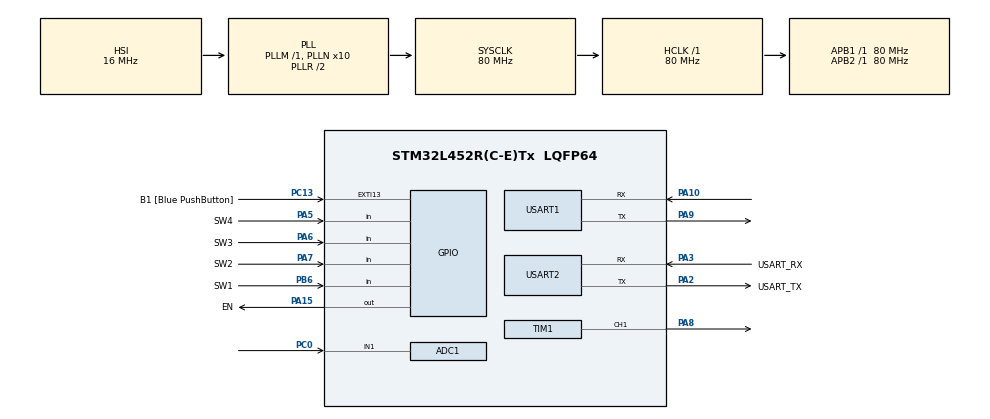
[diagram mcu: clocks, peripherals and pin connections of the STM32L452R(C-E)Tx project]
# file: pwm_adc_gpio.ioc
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ADC1.Channel-0\#ChannelRegularConversion=ADC_CHANNEL_1
ADC1.NbrOfConversionFlag=1
ADC1.OffsetNumber-0\#ChannelRegularConversion=ADC_OFFSET_NONE
ADC1.Rank-0\#ChannelRegularConversion=1
ADC1.SamplingTime-0\#ChannelRegularConversion=ADC_SAMPLETIME_2CYCLES_5
ADC1.master=1
Mcu.Family=STM32L4
Mcu.Name=STM32L452R(C-E)Tx
Mcu.Package=LQFP64
NVIC.PriorityGroup=NVIC_PRIORITYGROUP_4
NVIC.TIM2_IRQn=true\:0\:0\:false\:false\:true\:true\:true\:true
NVIC.USART1_IRQn=true\:0\:0\:false\:false\:true\:true\:true\:true
NVIC.USART2_IRQn=true\:0\:0\:false\:false\:true\:true\:true\:true
PA10.Mode=Asynchronous
PA10.Signal=USART1_RX
PA14\ (JTCK/SWCLK).GPIO_Label=TCK
PA14\ (JTCK/SWCLK).Signal=SYS_JTCK-SWCLK
PA15\ (JTDI).GPIO_Label=EN
PA15\ (JTDI).Signal=GPIO_Output
PA2.GPIO_Label=USART_TX
PA2.GPIO_Mode=GPIO_MODE_AF_PP
PA2.GPIO_PuPd=GPIO_NOPULL
PA2.GPIO_Speed=GPIO_SPEED_FREQ_VERY_HIGH
PA2.Mode=Asynchronous
PA2.Signal=USART2_TX
PA3.GPIO_Label=USART_RX
PA3.GPIO_Mode=GPIO_MODE_AF_PP
PA3.GPIO_PuPd=GPIO_NOPULL
PA3.GPIO_Speed=GPIO_SPEED_FREQ_VERY_HIGH
PA3.Mode=Asynchronous
PA3.Signal=USART2_RX
PA5.GPIO_Label=SW4
PA5.Signal=GPIO_Input
PA6.GPIO_Label=SW3
PA6.Signal=GPIO_Input
PA7.GPIO_Label=SW2
PA7.Signal=GPIO_Input
PA8.Signal=S_TIM1_CH1
PA9.Mode=Asynchronous
PA9.Signal=USART1_TX
PB3\ (JTDO/TRACESWO).GPIO_Label=SWO
PB3\ (JTDO/TRACESWO).Signal=SYS_JTDO-SWO
PB6.GPIO_Label=SW1
PB6.Signal=GPIO_Input
PC0.Signal=ADCx_IN1
PC13.GPIO_Label=B1 [Blue PushButton]
PC13.GPIO_ModeDefaultEXTI=GPIO_MODE_IT_FALLING
PC13.GPIO_PuPd=GPIO_NOPULL
PC13.Signal=GPXTI13
PC14-OSC32_IN\ (PC14).Mode=LSE-External-Oscillator
PC14-OSC32_IN\ (PC14).Signal=RCC_OSC32_IN
PC15-OSC32_OUT\ (PC15).Mode=LSE-External-Oscillator
PC15-OSC32_OUT\ (PC15).Signal=RCC_OSC32_OUT
PH0-OSC_IN\ (PH0).Signal=RCC_OSC_IN
PH1-OSC_OUT\ (PH1).Signal=RCC_OSC_OUT
ProjectManager.HeapSize=0x200
ProjectManager.StackSize=0x400
ProjectManager.TargetToolchain=STM32CubeIDE
RCC.ADCFreq_Value=64000000
RCC.AHBFreq_Value=80000000
RCC.APB1Freq_Value=80000000
RCC.APB1TimFreq_Value=80000000
RCC.APB2Freq_Value=80000000
RCC.APB2TimFreq_Value=80000000
RCC.CortexFreq_Value=80000000
RCC.HCLKFreq_Value=80000000
RCC.HSE_VALUE=8000000
RCC.HSI48_VALUE=48000000
RCC.HSI_VALUE=16000000
RCC.MSI_VALUE=4000000
RCC.PLLN=10
RCC.PLLSourceVirtual=RCC_PLLSOURCE_HSI
RCC.PREFETCH_ENABLE=1
RCC.SYSCLKFreq_VALUE=80000000
RCC.SYSCLKSource=RCC_SYSCLKSOURCE_PLLCLK
RCC.USBFreq_Value=64000000
RCC.VCOOutputFreq_Value=160000000
SH.ADCx_IN1.0=ADC1_IN1,IN1-Single-Ended
SH.S_TIM1_CH1.0=TIM1_CH1,PWM Generation1 CH1
TIM1.Channel-PWM\ Generation1\ CH1=TIM_CHANNEL_1
TIM1.Period=1960
TIM1.Prescaler=655
TIM2.Channel-Output\ Compare1\ No\ Output=TIM_CHANNEL_1
TIM2.Period=20000-1
TIM2.Prescaler=39999
USART1.VirtualMode-Asynchronous=VM_ASYNC
USART2.VirtualMode-Asynchronous=VM_ASYNC
VP_TIM1_VS_ClockSourceINT.Mode=Internal
VP_TIM2_VS_ClockSourceINT.Mode=Internal
VP_TIM2_VS_no_output1.Mode=Output Compare1 No Output
board=NUCLEO-L452RE

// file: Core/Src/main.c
/* USER CODE BEGIN Header */
/**
  ******************************************************************************
  * @file           : main.c
  * @brief          : Main program body
  ******************************************************************************
  * @attention
  *
  * Copyright (c) 2022 STMicroelectronics.
  * All rights reserved.
  *
  * This software is licensed under terms that can be found in the LICENSE file
  * in the root directory of this software component.
  * If no LICENSE file comes with this software, it is provided AS-IS.
  *
  ******************************************************************************
  */
/* USER CODE END Header */
#include "main.h"
#include "adc.h"
#include "tim.h"
#include "usart.h"
#include "gpio.h"

/* USER CODE BEGIN Includes */
#include "device.h"
#include "gpio_if.h"
#include "dip_switch.h"
#include "command_decoder.h"
#include "led.h"
/* USER CODE END Includes */

/* USER CODE BEGIN PV */

// variables periféricos/componentes
device this_device;
potenciometro pot;
transmisor_receptor_red t_r_red;
mode_types device_mode;
dip_switch this_dip;
led this_led;

// variables interrupciones UART
uint8_t uart_pc;
uint8_t uart_red;

/* USER CODE END PV */

void SystemClock_Config(void);

int main(void)
{
  /* USER CODE BEGIN 1 */

	/* pines de switches */
	t_gpio_pin user_switch1_pin = {SW1_GPIO_Port, SW1_Pin};
	t_gpio_if switch_1;
	t_gpio_pin user_switch2_pin = {SW2_GPIO_Port, SW2_Pin};
	t_gpio_if switch_2;
	t_gpio_pin user_switch3_pin = {SW3_GPIO_Port, SW3_Pin};
	t_gpio_if switch_3;
	t_gpio_pin user_switch4_pin = {SW4_GPIO_Port, SW4_Pin};
	t_gpio_if switch_4;

  /* USER CODE END 1 */

  /* MCU Configuration--------------------------------------------------------*/

  /* Reset of all peripherals, Initializes the Flash interface and the Systick. */
  HAL_Init();

  /* Configure the system clock */
  SystemClock_Config();

  /* Initialize all configured peripherals */
  MX_GPIO_Init();
  MX_USART2_UART_Init();
  MX_ADC1_Init();
  MX_TIM1_Init();
  MX_TIM2_Init();
  MX_USART1_UART_Init();

  /* Infinite loop */
  /* USER CODE BEGIN WHILE */

  // Inicialización interrupciones por UART
  HAL_UART_Receive_IT(&huart1, &uart_red, 1);
  HAL_UART_Receive_IT(&huart2, &uart_pc, 1);

  // Inicialización periféricos GPIO para el DIP switch
  gpio_if_init(&switch_1, ACTIVE_HIGH, &user_switch1_pin, GPIO_IF_INPUT);
  if (gpio_if_open(&switch_1) != GPIO_IF_SUCCESS)
    {
      Error_Handler();
    }
  gpio_if_init(&switch_2, ACTIVE_HIGH, &user_switch2_pin, GPIO_IF_INPUT);
  if (gpio_if_open(&switch_2) != GPIO_IF_SUCCESS)
    {
      Error_Handler();
    }
  gpio_if_init(&switch_3, ACTIVE_HIGH, &user_switch3_pin, GPIO_IF_INPUT);
  if (gpio_if_open(&switch_3) != GPIO_IF_SUCCESS)
    {
      Error_Handler();
    }
  gpio_if_init(&switch_4, ACTIVE_HIGH, &user_switch4_pin, GPIO_IF_INPUT);
  if (gpio_if_open(&switch_4) != GPIO_IF_SUCCESS)
    {
      Error_Handler();
    }

  // Inicialización transceptor
  trans_recep_init(&t_r_red, &huart1);

  // Inicialización datos de dispositivo según valor del DIP switch
  dip_switch_ports_init(&this_dip, &switch_1, &switch_2, &switch_3, &switch_4);
  int dip_value = get_dip_value(&this_dip);
  device_if_init(&this_device, dip_value);

  // Inicialización de LED (PWM) y potenciómetro (ADC)
  led_init(&this_led, &htim1);
  potenciometro_init(&pot, &hadc1);

  // Breve animación LED de inicio
  led_set(&this_led, 1960);
  HAL_Delay(200);
  led_set(&this_led, 0);
  HAL_Delay(200);
  led_set(&this_led, 400);
  HAL_Delay(200);
  led_set(&this_led, 0);
  HAL_Delay(200);
  led_set(&this_led, 1960);

  while (1)
  {
    /* USER CODE END WHILE */

  }
}

void SystemClock_Config(void)
{
  RCC_OscInitTypeDef RCC_OscInitStruct = {0};
  RCC_ClkInitTypeDef RCC_ClkInitStruct = {0};

  /** Configure the main internal regulator output voltage
  */
  if (HAL_PWREx_ControlVoltageScaling(PWR_REGULATOR_VOLTAGE_SCALE1) != HAL_OK)
  {
    Error_Handler();
  }

  /** Initializes the RCC Oscillators according to the specified parameters
  * in the RCC_OscInitTypeDef structure.
  */
  RCC_OscInitStruct.OscillatorType = RCC_OSCILLATORTYPE_HSI;
  RCC_OscInitStruct.HSIState = RCC_HSI_ON;
  RCC_OscInitStruct.HSICalibrationValue = RCC_HSICALIBRATION_DEFAULT;
  RCC_OscInitStruct.PLL.PLLState = RCC_PLL_ON;
  RCC_OscInitStruct.PLL.PLLSource = RCC_PLLSOURCE_HSI;
  RCC_OscInitStruct.PLL.PLLM = 1;
  RCC_OscInitStruct.PLL.PLLN = 10;
  RCC_OscInitStruct.PLL.PLLP = RCC_PLLP_DIV7;
  RCC_OscInitStruct.PLL.PLLQ = RCC_PLLQ_DIV2;
  RCC_OscInitStruct.PLL.PLLR = RCC_PLLR_DIV2;
  if (HAL_RCC_OscConfig(&RCC_OscInitStruct) != HAL_OK)
  {
    Error_Handler();
  }

  /** Initializes the CPU, AHB and APB buses clocks
  */
  RCC_ClkInitStruct.ClockType = RCC_CLOCKTYPE_HCLK|RCC_CLOCKTYPE_SYSCLK
                              |RCC_CLOCKTYPE_PCLK1|RCC_CLOCKTYPE_PCLK2;
  RCC_ClkInitStruct.SYSCLKSource = RCC_SYSCLKSOURCE_PLLCLK;
  RCC_ClkInitStruct.AHBCLKDivider = RCC_SYSCLK_DIV1;
  RCC_ClkInitStruct.APB1CLKDivider = RCC_HCLK_DIV1;
  RCC_ClkInitStruct.APB2CLKDivider = RCC_HCLK_DIV1;

  if (HAL_RCC_ClockConfig(&RCC_ClkInitStruct, FLASH_LATENCY_4) != HAL_OK)
  {
    Error_Handler();
  }
}

/* USER CODE BEGIN 4 */

// Rutina de interrupción por UART
uint8_t dato_1;
uint8_t dato_2;

void HAL_UART_RxCpltCallback (UART_HandleTypeDef *huart)
{
	static uint8_t cont = 1;
	device_mode = this_device.modo;

	// UART del computador
	if(huart->Instance == USART2)
	{
		if (cont == 1)
		{
			dato_1 = uart_pc;
			cont = 2;
		}
		else if (cont == 2)
		{
			dato_2 = uart_pc;
			cont = 1;
			if (device_mode == MASTER)
			{
				decode_pc_command(&this_device, dato_1, dato_2);
			}
		}
	}

	// UART de la red
	if(huart->Instance == USART1)
	{
		if (device_mode == MASTER)
		{
			HAL_UART_Transmit(&huart2, &uart_red, 1, 100);
			HAL_TIM_Base_Stop_IT(&htim2);
		}
		else
		{
			if (cont == 1)
			{
				dato_1 = uart_red;
				cont = 2;
			}
			else if (cont == 2)
			{
				dato_2 = uart_red;
				cont = 1;
				if (device_mode == SLAVE)
				{
					decode_red_command(&this_device, dato_1, dato_2);
				}
			}
		}
	}

	// Reactivar interrupciones UART
	HAL_UART_Receive_IT(&huart2, &uart_pc, 1);
	HAL_UART_Receive_IT(&huart1, &uart_red, 1);
}

/* USER CODE END 4 */

void Error_Handler(void)
{
  __disable_irq();
  while (1)
  {
  }
}
